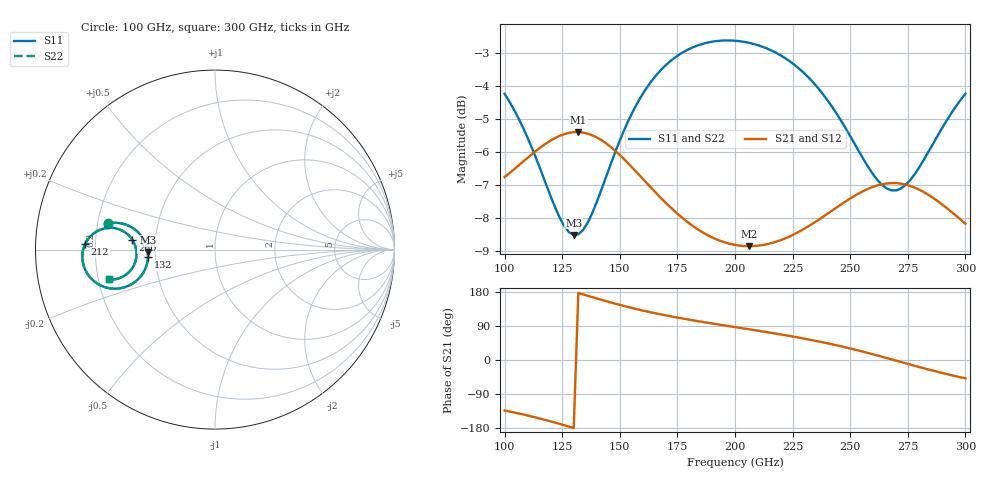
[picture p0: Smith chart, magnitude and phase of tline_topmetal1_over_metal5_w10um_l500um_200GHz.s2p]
#  GHZ S DB R 50
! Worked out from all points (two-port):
!   101 points, 100 GHz to 300 GHz, reference 50 ohm
!   highest |S21| = -5.40 dB at 132 GHz (marker M1); lowest = -8.9 dB at 206 GHz (marker M2)
!   |S21| within 3 dB of the highest: start of sweep to 184.8 GHz; 228.5 GHz to end of sweep
!   lowest |S11| = -8.5 dB at 130 GHz (marker M3), VSWR 2.20, Z = 22.7 - j0.855 ohm
!   |S11| at or under -10 dB: nowhere
!   |S22| runs from -8.5 to -2.6 dB; largest |S21 - S12| = 4.6e-14
!   S11 on the Smith chart (normalised r, x): 100 GHz: 0.24, +0.11; 132 GHz: 0.45, -0.04; 212 GHz: 0.16, +0.02; 260 GHz: 0.37, +0.05; 300 GHz: 0.24, -0.13
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100  -4.23 166.3  -6.76 -133.3  -6.76 -133.3  -4.24 166.3
108  -5.26 164.4  -6.30 -143.7  -6.30 -143.7  -5.27 164.4
114  -6.25 164.9  -5.95 -152.4  -5.95 -152.4  -6.26 164.8
122  -7.70 170.2  -5.57 -165.4  -5.57 -165.4  -7.71 170.2
130  -8.53 -177.5  -5.40 -179.5  -5.40 -179.5  -8.54 -177.5
132  -8.50 -173.9  -5.40 176.9  -5.40 176.9  -8.51 -173.9
134  -8.38 -170.4  -5.41 173.2  -5.41 173.2  -8.39 -170.4
142  -7.15 -160.3  -5.64 158.9  -5.64 158.9  -7.16 -160.2
150  -5.65 -157.3  -6.09 145.4  -6.09 145.4  -5.66 -157.3
158  -4.47 -158.6  -6.67 133.3  -6.67 133.3  -4.47 -158.6
168  -3.50 -162.7  -7.41 120.1  -7.41 120.1  -3.50 -162.7
184  -2.76 -170.2  -8.36 102.4  -8.36 102.4  -2.76 -170.2
200  -2.62 -177.4  -8.83 86.9  -8.83 86.9  -2.62 -177.4
206  -2.68 -180.0  -8.87 81.2  -8.87 81.2  -2.68 -180.0
212  -2.81 177.5  -8.83 75.4  -8.83 75.4  -2.81 177.5
234  -3.89 169.7  -8.17 51.8  -8.17 51.8  -3.89 169.7
248  -5.28 168.1  -7.51 33.3  -7.51 33.3  -5.28 168.1
260  -6.69 173.3  -7.06 14.9  -7.06 14.9  -6.69 173.3
268  -7.17 -178.7  -6.95 1.6  -6.95 1.6  -7.17 -178.7
276  -6.86 -170.3  -7.03 -11.9  -7.03 -11.9  -6.86 -170.3
286  -5.75 -164.2  -7.40 -28.2  -7.40 -28.2  -5.75 -164.2
300  -4.23 -164.3  -8.18 -48.4  -8.18 -48.4  -4.23 -164.3
